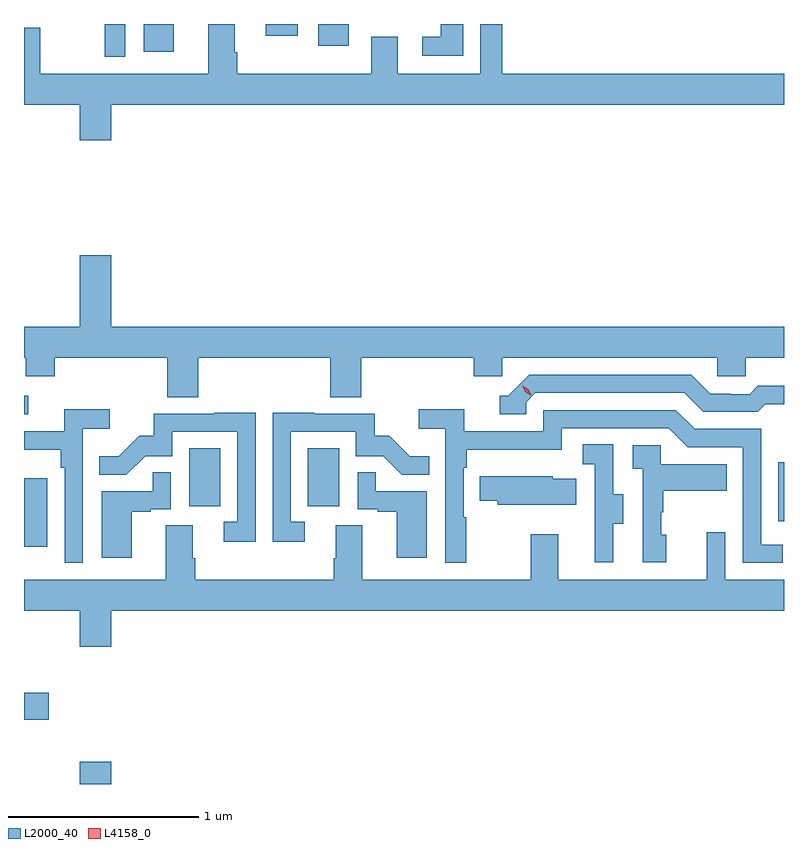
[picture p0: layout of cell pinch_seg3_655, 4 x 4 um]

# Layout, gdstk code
import gdstk
lib = gdstk.Library(unit=1e-6, precision=1e-09)
def R(c, l, rs):  # rectangles x0, y0, x1, y1
    for r in rs: c.add(gdstk.rectangle(r[:2], r[2:], *l))
def P(c, l, *ps):  # polygons
    for p in ps: c.add(gdstk.Polygon(p, *l))
L2000_40 = (2000, 40)
L4158_0 = (4158, 0)

pinch_seg3_655 = lib.new_cell('pinch_seg3_655')
R(pinch_seg3_655, L2000_40, [(1076.096,680.025,1076.26,680.143), (1075.802,680.363,1075.933,680.505), (1075.802,681.273,1075.924,681.634), (1079.772,681.408,1079.802,681.718), (1076.672,681.486,1076.836,681.793), (1077.296,681.486,1077.46,681.793), (1075.802,681.972,1075.825,682.068), (1076.226,683.853,1076.334,684.025), (1076.432,683.88,1076.59,684.025), (1077.35,683.91,1077.511,684.025), (1077.075,683.964,1077.243,684.025)])
P(pinch_seg3_655, L2000_40, [(1078.114,684.025),(1077.995,684.025),(1077.995,683.959),(1077.897,683.959),(1077.897,683.858),(1078.114,683.858)],
  [(1079.802,683.764),(1078.319,683.764),(1078.319,684.025),(1078.203,684.025),(1078.203,683.764),(1077.769,683.764),(1077.769,683.959),(1077.629,683.959),(1077.629,683.764),(1076.924,683.764),(1076.924,683.876),(1076.911,683.876),(1076.911,684.025),(1076.771,684.025),(1076.771,683.764),(1075.887,683.764),(1075.887,684.004),(1075.802,684.004),(1075.802,683.6),(1076.096,683.6),(1076.096,683.412),(1076.26,683.412),(1076.26,683.6),(1079.802,683.6)],
  [(1076.72,682.268),(1077.413,682.268),(1077.413,682.06),(1077.578,682.06),(1077.578,682.268),(1078.169,682.268),(1078.169,682.17),(1078.32,682.17),(1078.32,682.268),(1079.451,682.268),(1079.451,682.17),(1079.601,682.17),(1079.601,682.268),(1079.802,682.268),(1079.802,682.432),(1076.26,682.432),(1076.26,682.807),(1076.096,682.807),(1076.096,682.432),(1075.802,682.432),(1075.802,682.268),(1075.812,682.268),(1075.812,682.17),(1075.964,682.17),(1075.964,682.268),(1076.555,682.268),(1076.555,682.06),(1076.72,682.06)],
  [(1078.446,682.035),(1078.494,682.083),(1079.277,682.083),(1079.376,681.984),(1079.665,681.984),(1079.704,682.023),(1079.802,682.023),(1079.802,682.12),(1079.665,682.12),(1079.623,682.077),(1079.52,682.077),(1079.52,682.08),(1079.413,682.08),(1079.314,682.179),(1078.461,682.179),(1078.35,682.068),(1078.307,682.068),(1078.307,681.972),(1078.446,681.972)],
  [(1078.129,681.428),(1078.116,681.428),(1078.116,681.689),(1078.133,681.689),(1078.133,681.785),(1078.632,681.785),(1078.632,681.897),(1079.196,681.897),(1079.295,681.798),(1079.586,681.798),(1079.586,681.189),(1079.795,681.189),(1079.795,681.285),(1079.682,681.285),(1079.682,681.894),(1079.332,681.894),(1079.233,681.993),(1078.536,681.993),(1078.536,681.882),(1078.118,681.882),(1078.118,681.998),(1077.879,681.998),(1077.879,681.896),(1078.02,681.896),(1078.02,681.189),(1078.129,681.189)],
  [(1076.112,681.896),(1076.254,681.896),(1076.254,681.998),(1076.015,681.998),(1076.015,681.882),(1075.802,681.882),(1075.802,681.785),(1075.996,681.785),(1075.996,681.689),(1076.016,681.689),(1076.016,681.189),(1076.112,681.189)],
  [(1077.021,681.98),(1076.803,681.98),(1076.803,681.975),(1076.485,681.975),(1076.485,681.858),(1076.408,681.858),(1076.301,681.751),(1076.197,681.751),(1076.197,681.652),(1076.341,681.652),(1076.439,681.75),(1076.583,681.75),(1076.583,681.879),(1076.925,681.879),(1076.925,681.405),(1076.853,681.405),(1076.853,681.3),(1077.021,681.3)],
  [(1077.28,681.405),(1077.207,681.405),(1077.207,681.879),(1077.549,681.879),(1077.549,681.75),(1077.693,681.75),(1077.791,681.652),(1077.935,681.652),(1077.935,681.751),(1077.831,681.751),(1077.724,681.858),(1077.648,681.858),(1077.648,681.975),(1077.329,681.975),(1077.329,681.98),(1077.111,681.98),(1077.111,681.3),(1077.28,681.3)],
  [(1078.903,681.394),(1078.957,681.394),(1078.957,681.549),(1078.902,681.549),(1078.902,681.812),(1078.743,681.812),(1078.743,681.709),(1078.806,681.709),(1078.806,681.405),(1078.805,681.405),(1078.805,681.192),(1078.903,681.192)],
  [(1079.182,681.336),(1079.157,681.336),(1079.157,681.455),(1079.167,681.455),(1079.167,681.569),(1079.501,681.569),(1079.501,681.709),(1079.154,681.709),(1079.154,681.807),(1079.007,681.807),(1079.007,681.683),(1079.058,681.683),(1079.058,681.192),(1079.182,681.192)],
  [(1076.368,681.459),(1076.468,681.459),(1076.468,681.471),(1076.574,681.471),(1076.574,681.665),(1076.479,681.665),(1076.479,681.567),(1076.21,681.567),(1076.21,681.216),(1076.368,681.216)],
  [(1077.922,681.567),(1077.653,681.567),(1077.653,681.665),(1077.558,681.665),(1077.558,681.471),(1077.665,681.471),(1077.665,681.459),(1077.764,681.459),(1077.764,681.216),(1077.922,681.216)],
  [(1078.709,681.631),(1078.584,681.631),(1078.584,681.646),(1078.312,681.646),(1078.312,681.645),(1078.201,681.645),(1078.201,681.517),(1078.295,681.517),(1078.295,681.494),(1078.709,681.494)],
  [(1076.26,680.936),(1079.802,680.936),(1079.802,681.1),(1079.493,681.1),(1079.493,681.349),(1079.396,681.349),(1079.396,681.1),(1078.615,681.1),(1078.615,681.34),(1078.468,681.34),(1078.468,681.1),(1077.583,681.1),(1077.583,681.386),(1077.443,681.386),(1077.443,681.212),(1077.431,681.212),(1077.431,681.1),(1076.702,681.1),(1076.702,681.212),(1076.689,681.212),(1076.689,681.386),(1076.549,681.386),(1076.549,681.1),(1075.802,681.1),(1075.802,680.936),(1076.096,680.936),(1076.096,680.748),(1076.26,680.748)])
P(pinch_seg3_655, L4158_0, [(1078.47,682.07),(1078.44,682.089),(1078.424,682.122),(1078.424,682.122),(1078.425,682.122),(1078.455,682.102),(1078.471,682.07),(1078.471,682.07)])

lib.write_gds('pinch_seg3_655.gds')
